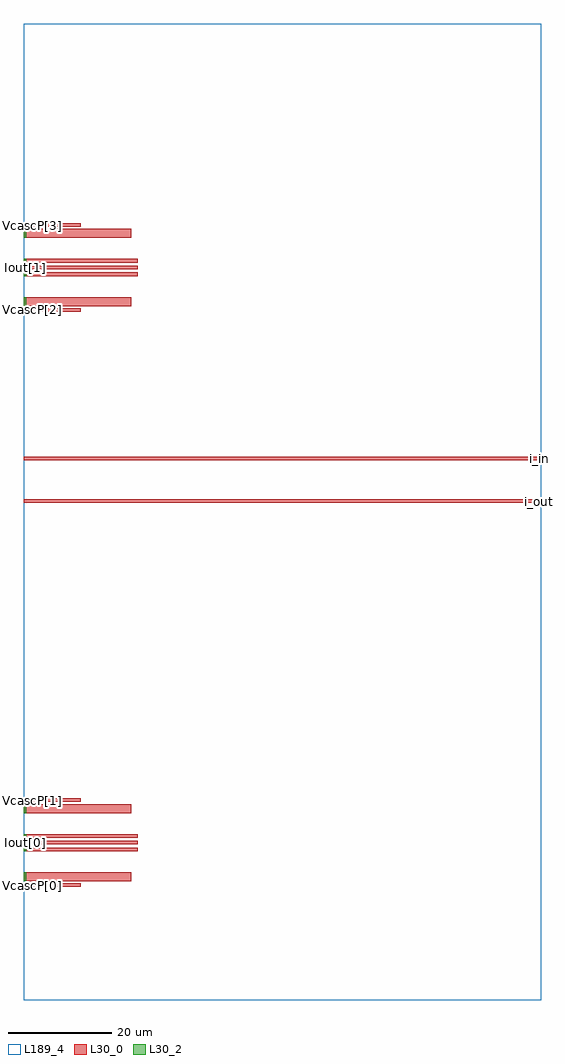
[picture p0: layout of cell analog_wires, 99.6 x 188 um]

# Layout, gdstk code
import gdstk
lib = gdstk.Library(unit=1e-6, precision=1e-09)
def R(c, l, rs):  # rectangles x0, y0, x1, y1
    for r in rs: c.add(gdstk.rectangle(r[:2], r[2:], *l))
def A(c, l, x, y, w, h, nx, ny, dx, dy):  # array of equal rectangles
    R(c, l, [(x+i*dx, y+j*dy, x+i*dx+w, y+j*dy+h) for i in range(nx) for j in range(ny)])
L30_0 = (30, 0)
L30_2 = (30, 2)
L189_4 = (189, 4)

analog_wires = lib.new_cell('analog_wires')
A(analog_wires, L30_2, 0, 28.655, 0.4, 0.7, 1, 3, 0, 1.3)
A(analog_wires, L30_2, 0, 139.445, 0.4, 0.7, 1, 3, 0, 1.3)
R(analog_wires, L30_2, [(0,21.77,0.4,22.47), (0,22.87,0.4,24.6), (0,36.01,0.4,37.74), (0,38.14,0.4,38.84), (99.2,95.745,99.6,96.445), (99.2,103.93,99.6,104.63), (0,132.56,0.4,133.26), (0,133.66,0.4,135.39), (0,146.8,0.4,148.53), (0,148.93,0.4,149.63)])
R(analog_wires, L189_4, [(0,0,99.6,188)])
analog_wires.add(gdstk.FlexPath([(0,38.49),(10.91,38.49)], 0.7, ends="flush", simple_path=True, layer=30, datatype=0))  # L30_0
analog_wires.add(gdstk.FlexPath([(0,22.12),(10.91,22.12)], 0.7, ends="flush", simple_path=True, layer=30, datatype=0))  # L30_0
analog_wires.add(gdstk.FlexPath([(0,30.305),(21.91,30.305)], 0.7, ends="flush", simple_path=True, layer=30, datatype=0))  # L30_0
analog_wires.add(gdstk.FlexPath([(0,23.735),(20.7,23.735)], 1.73, ends="flush", simple_path=True, layer=30, datatype=0))  # L30_0
analog_wires.add(gdstk.FlexPath([(0,36.875),(20.7,36.875)], 1.73, ends="flush", simple_path=True, layer=30, datatype=0))  # L30_0
analog_wires.add(gdstk.FlexPath([(0,31.605),(21.91,31.605)], 0.7, ends="flush", simple_path=True, layer=30, datatype=0))  # L30_0
analog_wires.add(gdstk.FlexPath([(0,29.005),(21.91,29.005)], 0.7, ends="flush", simple_path=True, layer=30, datatype=0))  # L30_0
analog_wires.add(gdstk.FlexPath([(0,134.525),(20.7,134.525)], 1.73, ends="flush", simple_path=True, layer=30, datatype=0))  # L30_0
analog_wires.add(gdstk.FlexPath([(0,147.665),(20.7,147.665)], 1.73, ends="flush", simple_path=True, layer=30, datatype=0))  # L30_0
analog_wires.add(gdstk.FlexPath([(0,142.395),(21.91,142.395)], 0.7, ends="flush", simple_path=True, layer=30, datatype=0))  # L30_0
analog_wires.add(gdstk.FlexPath([(0,139.795),(21.91,139.795)], 0.7, ends="flush", simple_path=True, layer=30, datatype=0))  # L30_0
analog_wires.add(gdstk.FlexPath([(0,141.095),(21.91,141.095)], 0.7, ends="flush", simple_path=True, layer=30, datatype=0))  # L30_0
analog_wires.add(gdstk.FlexPath([(0,149.28),(10.91,149.28)], 0.7, ends="flush", simple_path=True, layer=30, datatype=0))  # L30_0
analog_wires.add(gdstk.FlexPath([(0,132.91),(10.91,132.91)], 0.7, ends="flush", simple_path=True, layer=30, datatype=0))  # L30_0
analog_wires.add(gdstk.FlexPath([(0,96.095),(99.6,96.095)], 0.7, ends="flush", simple_path=True, layer=30, datatype=0))  # L30_0
analog_wires.add(gdstk.FlexPath([(0,104.28),(99.6,104.28)], 0.7, ends="flush", simple_path=True, layer=30, datatype=0))  # L30_0
analog_wires.add(gdstk.Label('VcascP[0]', (0.2,22.12), layer=30, texttype=25))
analog_wires.add(gdstk.Label('VcascP[1]', (0.2,38.49), layer=30, texttype=25))
analog_wires.add(gdstk.Label('Iout[0]', (0.2,30.305), layer=30, texttype=25))
analog_wires.add(gdstk.Label('VDDA[0]', (0.2,23.735), layer=30, texttype=25))
analog_wires.add(gdstk.Label('VDDA[1]', (0.2,36.875), layer=30, texttype=25))
analog_wires.add(gdstk.Label('VbiasP[1]', (0.2,31.605), layer=30, texttype=25))
analog_wires.add(gdstk.Label('VbiasP[0]', (0.2,29.005), layer=30, texttype=25))
analog_wires.add(gdstk.Label('VcascP[2]', (0.2,132.91), layer=30, texttype=25))
analog_wires.add(gdstk.Label('VcascP[3]', (0.2,149.28), layer=30, texttype=25))
analog_wires.add(gdstk.Label('Iout[1]', (0.2,141.095), layer=30, texttype=25))
analog_wires.add(gdstk.Label('VDDA[2]', (0.2,134.525), layer=30, texttype=25))
analog_wires.add(gdstk.Label('VDDA[3]', (0.2,147.665), layer=30, texttype=25))
analog_wires.add(gdstk.Label('VbiasP[3]', (0.2,142.395), layer=30, texttype=25))
analog_wires.add(gdstk.Label('VbiasP[2]', (0.2,139.795), layer=30, texttype=25))
analog_wires.add(gdstk.Label('i_in', (99.4,104.28), layer=30, texttype=25))
analog_wires.add(gdstk.Label('i_out', (99.4,96.095), layer=30, texttype=25))

lib.write_gds('analog_wires.gds')
